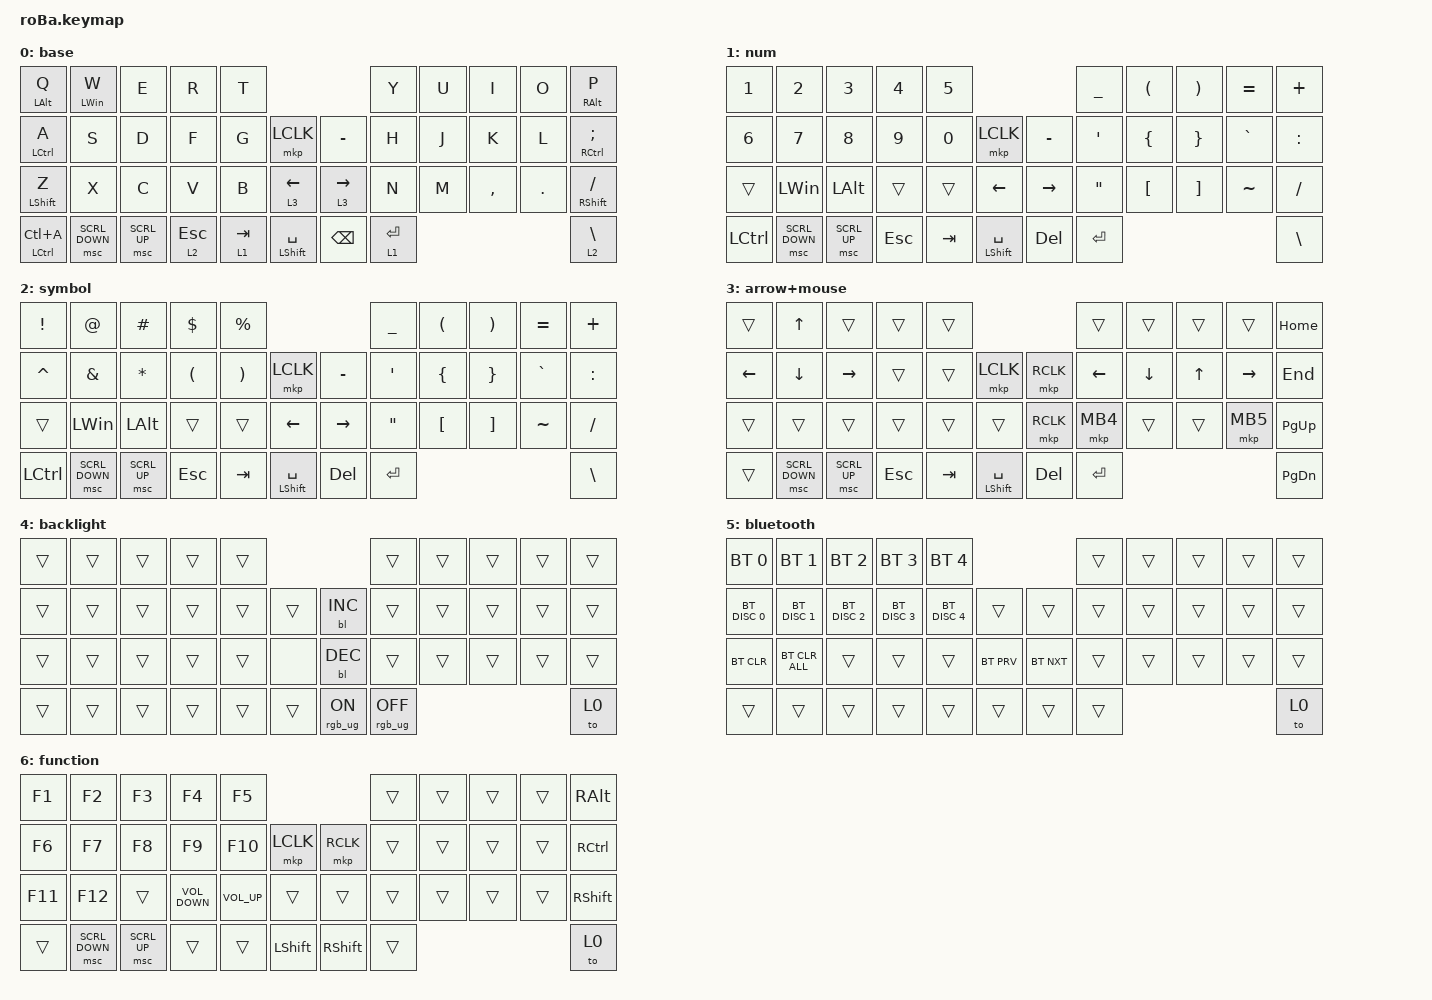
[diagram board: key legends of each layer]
#include <behaviors.dtsi>
#include <dt-bindings/zmk/backlight.h>
#include <dt-bindings/zmk/bt.h>
#include <dt-bindings/zmk/keys.h>
#include <dt-bindings/zmk/pointing.h>
#include <dt-bindings/zmk/pointing.h>
#include <dt-bindings/zmk/rgb.h>

#define MOUSE 4
#define SCROLL 5
#define NUM 6

&mt {
    flavor = "balanced";
    quick-tap-ms = <0>;
};

/ {
    combos {
        compatible = "zmk,combos";

        to_layer_5 {
            bindings = <&to 5>;
            key-positions = <19 20>;
        };

        to_layer_6 {
            bindings = <&to 0>;
            key-positions = <31 32>;
        };

        to_layer_4 {
            bindings = <&to 4>;
            key-positions = <7 8>;
        };
    };

    keymap {
        compatible = "zmk,keymap";

        base {
            bindings = <
&mt LEFT_ALT Q   &mt LEFT_WIN W  &kp E         &kp R         &kp T                                                   &kp Y        &kp U  &kp I      &kp O    &mt RIGHT_ALT P
&mt LCTRL A      &kp S           &kp D         &kp F         &kp G      &mkp LCLK                 &kp MINUS          &kp H        &kp J  &kp K      &kp L    &mt RCTRL SEMICOLON
&mt LSHFT Z      &kp X           &kp C         &kp V         &kp B      &lt 3 LEFT_ARROW          &lt 3 RIGHT_ARROW  &kp N        &kp M  &kp COMMA  &kp DOT  &mt RIGHT_SHIFT SLASH
&mt LCTRL LC(A)  &msc SCRL_DOWN  &msc SCRL_UP  &lt 2 ESCAPE  &lt 1 TAB  &mt LEFT_SHIFT SPACE      &kp BACKSPACE      &lt 1 ENTER                             &lt 2 BACKSLASH
            >;
        };

        num {
            bindings = <
&kp N1        &kp N2          &kp N3        &kp N4        &kp N5                                                   &kp UNDERSCORE     &kp LEFT_PARENTHESIS  &kp RIGHT_PARENTHESIS  &kp EQUAL  &kp PLUS
&kp NUMBER_6  &kp NUMBER_7    &kp NUMBER_8  &kp NUMBER_9  &kp NUMBER_0  &mkp LCLK                 &kp MINUS        &kp SQT            &kp LEFT_BRACE        &kp RIGHT_BRACE        &kp GRAVE  &kp COLON
&trans        &kp LEFT_WIN    &kp LEFT_ALT  &trans        &trans        &kp LEFT_ARROW            &kp RIGHT_ARROW  &kp DOUBLE_QUOTES  &kp LEFT_BRACKET      &kp RIGHT_BRACKET      &kp TILDE  &kp SLASH
&kp LCTRL     &msc SCRL_DOWN  &msc SCRL_UP  &kp ESCAPE    &kp TAB       &mt LEFT_SHIFT SPACE      &kp DELETE       &kp ENTER                                                                  &kp BACKSLASH
            >;
        };

        symbol {
            bindings = <
&kp EXCLAMATION  &kp AT_SIGN     &kp HASH      &kp DOLLAR            &kp PERCENT                                                       &kp UNDERSCORE     &kp LEFT_PARENTHESIS  &kp RIGHT_PARENTHESIS  &kp EQUAL  &kp PLUS
&kp CARET        &kp AMPERSAND   &kp ASTERISK  &kp LEFT_PARENTHESIS  &kp RIGHT_PARENTHESIS  &mkp LCLK                 &kp MINUS        &kp SINGLE_QUOTE   &kp LEFT_BRACE        &kp RIGHT_BRACE        &kp GRAVE  &kp COLON
&trans           &kp LEFT_WIN    &kp LEFT_ALT  &trans                &trans                 &kp LEFT_ARROW            &kp RIGHT_ARROW  &kp DOUBLE_QUOTES  &kp LEFT_BRACKET      &kp RIGHT_BRACKET      &kp TILDE  &kp SLASH
&kp LCTRL        &msc SCRL_DOWN  &msc SCRL_UP  &kp ESC               &kp TAB                &mt LEFT_SHIFT SPACE      &kp DELETE       &kp ENTER                                                                  &kp BACKSLASH
            >;
        };

        arrow+mouse {
            bindings = <
&trans          &kp UP_ARROW    &trans           &trans      &trans                                        &trans          &trans          &trans        &trans           &kp HOME
&kp LEFT_ARROW  &kp DOWN_ARROW  &kp RIGHT_ARROW  &trans      &trans   &mkp LCLK                 &mkp RCLK  &kp LEFT_ARROW  &kp DOWN_ARROW  &kp UP_ARROW  &kp RIGHT_ARROW  &kp END
&trans          &trans          &trans           &trans      &trans   &trans                    &mkp RCLK  &mkp MB4        &trans          &trans        &mkp MB5         &kp PAGE_UP
&trans          &msc SCRL_DOWN  &msc SCRL_UP     &kp ESCAPE  &kp TAB  &mt LEFT_SHIFT SPACE      &kp DEL    &kp ENTER                                                      &kp PAGE_DOWN
            >;
        };

        backlight {
            bindings = <
&trans  &trans  &trans  &trans  &trans                              &trans           &trans  &trans  &trans  &trans
&trans  &trans  &trans  &trans  &trans  &trans      &bl BL_INC      &trans           &trans  &trans  &trans  &trans
&trans  &trans  &trans  &trans  &trans  &none       &bl BL_DEC      &trans           &trans  &trans  &trans  &trans
&trans  &trans  &trans  &trans  &trans  &trans      &rgb_ug RGB_ON  &rgb_ug RGB_OFF                          &to 0
            >;
        };

        bluetooth {
            bindings = <
&bt BT_SEL 0   &bt BT_SEL 1    &bt BT_SEL 2   &bt BT_SEL 3   &bt BT_SEL 4                               &trans  &trans  &trans  &trans  &trans
&bt BT_DISC 0  &bt BT_DISC 1   &bt BT_DISC 2  &bt BT_DISC 3  &bt BT_DISC 4  &trans          &trans      &trans  &trans  &trans  &trans  &trans
&bt BT_CLR     &bt BT_CLR_ALL  &trans         &trans         &trans         &bt BT_PRV      &bt BT_NXT  &trans  &trans  &trans  &trans  &trans
&trans         &trans          &trans         &trans         &trans         &trans          &trans      &trans                          &to 0
            >;
        };

        function {
            bindings = <
&kp F1   &kp F2          &kp F3        &kp F4             &kp F5                                                &trans  &trans  &trans  &trans  &kp RIGHT_ALT
&kp F6   &kp F7          &kp F8        &kp F9             &kp F10          &mkp LCLK           &mkp RCLK        &trans  &trans  &trans  &trans  &kp RCTRL
&kp F11  &kp F12         &trans        &kp C_VOLUME_DOWN  &kp C_VOLUME_UP  &trans              &trans           &trans  &trans  &trans  &trans  &kp RIGHT_SHIFT
&trans   &msc SCRL_DOWN  &msc SCRL_UP  &trans             &trans           &kp LEFT_SHIFT      &kp RIGHT_SHIFT  &trans                          &to 0
            >;
        };
    };
};
